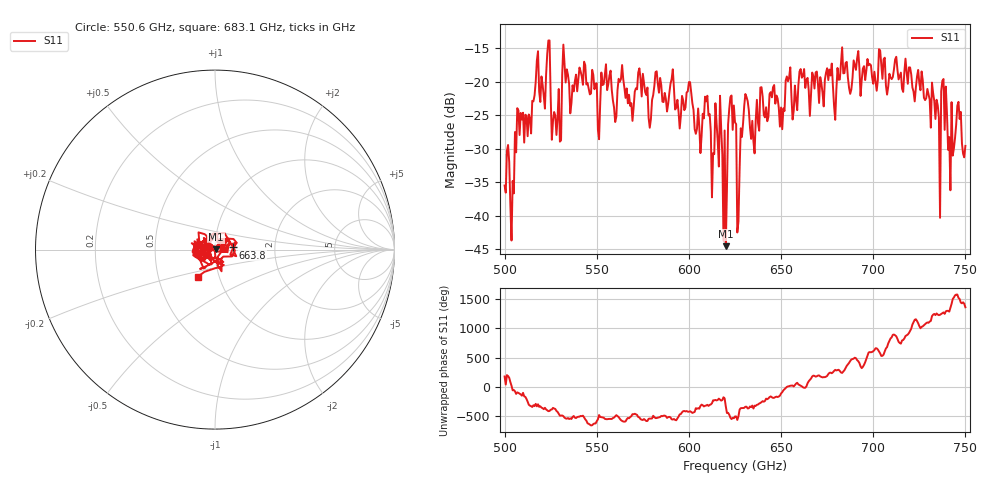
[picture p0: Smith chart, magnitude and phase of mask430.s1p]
!Created with skrf (http://scikit-rf.org).
# GHz S MA R 50.0
!freq magS11 angS11
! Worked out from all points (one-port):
!   401 points, 500 GHz to 750 GHz, reference 50 ohm
!   lowest |S11| = -44.6 dB at 620 GHz (marker M1), VSWR 1.01, Z = 50.5 + j0.252 ohm
!   |S11| at or under -10 dB: start of sweep to end of sweep
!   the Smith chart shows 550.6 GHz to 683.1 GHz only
!   S11 on the Smith chart (normalised r, x): 550.6 GHz: 0.92, +0.02; 663.8 GHz: 1.23, +0.03; 683.1 GHz: 0.79, -0.25
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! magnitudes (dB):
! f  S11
! 500 GHz  -35.5
! 503.8 GHz  -43.7
! 506.9 GHz  -24.0
! 517.5 GHz  -16.9
! 523.8 GHz  -13.9
! 526.9 GHz  -24.6
! 531.2 GHz  -18.9
! 542.5 GHz  -20.5
! 550.6 GHz  -27.2
! 562.5 GHz  -20.0
! 593.8 GHz  -22.7
! 610 GHz  -22.1
! 620 GHz  -44.6
! 622.5 GHz  -22.3
! 625 GHz  -26.1
! 627.5 GHz  -33.1
! 631.2 GHz  -22.3
! 634.4 GHz  -25.9
! 656.2 GHz  -25.7
! 663.8 GHz  -19.8
! 683.1 GHz  -14.9
! 687.5 GHz  -21.8
! 718.8 GHz  -20.3
! 735 GHz  -23.5
! 738.1 GHz  -19.6
! 741.9 GHz  -36.2
! 746.2 GHz  -23.0
! 750 GHz  -29.6
